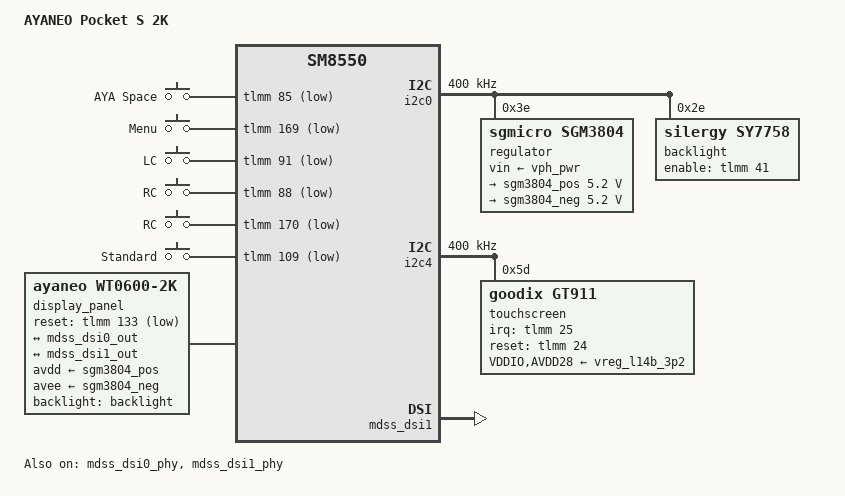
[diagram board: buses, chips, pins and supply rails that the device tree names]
// SPDX-License-Identifier: BSD-3-Clause
/*
 * Copyright (c) 2024 Linaro Limited
 * Copyright (c) 2025, Kancy Joe <kancy2333@outlook.com>
 * Copyright (c) 2025, ROCKNIX (https://github.com/ROCKNIX)
 */

/dts-v1/;

#include "qcs8550-ayaneo-pocket-common.dtsi"
#include "qcs8550-sdhc2-downstream.dtsi"

/ {
	model = "AYANEO Pocket S 2K";
	compatible = "ayaneo,pocket-s1", "qcom,sm8550";
	chassis-type = "handset";

	/*
	 * AYA SPACE, =, LC, RC and Standard are on SoC GPIOs, not the
	 * controller MCU. Keep this separate from the common gpio-keys node
	 * so InputPlumber does not grab volume.
	 */
	aya-keys {
		compatible = "gpio-keys";
		label = "aya-keys";

		pinctrl-0 = <&aya_keys_default>;
		pinctrl-names = "default";

		key-aya-space {
			label = "AYA Space";
			debounce-interval = <15>;
			gpios = <&tlmm 85 GPIO_ACTIVE_LOW>;
			linux,code = <KEY_A>;
			wakeup-source;
		};

		key-menu {
			label = "Menu";
			debounce-interval = <15>;
			gpios = <&tlmm 169 GPIO_ACTIVE_LOW>;
			linux,code = <KEY_EQUAL>;
			wakeup-source;
		};

		key-lc {
			label = "LC";
			debounce-interval = <15>;
			gpios = <&tlmm 91 GPIO_ACTIVE_LOW>;
			linux,code = <KEY_LEFT>;
			wakeup-source;
		};

		key-rc {
			label = "RC";
			debounce-interval = <15>;
			gpios = <&tlmm 88 GPIO_ACTIVE_LOW>;
			linux,code = <KEY_RIGHT>;
			wakeup-source;
		};

		/* The 2K wires RC to GPIO170; keep GPIO88 as the stock DT's alternate and report both as KEY_RIGHT. */
		key-rc2 {
			label = "RC";
			debounce-interval = <15>;
			gpios = <&tlmm 170 GPIO_ACTIVE_LOW>;
			linux,code = <KEY_RIGHT>;
			wakeup-source;
		};

		key-standard {
			label = "Standard";
			debounce-interval = <15>;
			gpios = <&tlmm 109 GPIO_ACTIVE_LOW>;
			linux,code = <KEY_YELLOW>;
			wakeup-source;
		};
	};
};

/* Physical + is on the PMIC resin input, - on the PM8550 GPIO. */
&{/gpio-keys/key-volume-up} {
	label = "Volume Down";
	linux,code = <KEY_VOLUMEDOWN>;
};

&pon_resin {
	linux,code = <KEY_VOLUMEUP>;
};

&tlmm {
	aya_keys_default: aya-keys-default-state {
		pins = "gpio85", "gpio88", "gpio91", "gpio109", "gpio169", "gpio170";
		function = "gpio";
		drive-strength = <2>;
		bias-pull-up;
	};

	panel_pwr_active: panel-pwr-active-state {
		pins = "gpio72", "gpio42", "gpio152", "gpio153";
		function = "gpio";
		drive-strength = <8>;
		bias-disable;
		output-high;
	};

	panel_pwr_sleep: panel-pwr-sleep-state {
		pins = "gpio72", "gpio42", "gpio152", "gpio153";
		function = "gpio";
		output-low;
	};

	backlight_pwr_active: backlight-pwr-active-state {
		pins = "gpio41";
		function = "gpio";
		drive-strength = <8>;
		bias-disable;
		output-high;
	};

	backlight_pwr_sleep: backlight-pwr-sleep-state {
		pins = "gpio41";
		function = "gpio";
		output-low;
	};

	ts_irq: ts-irq-state {
		pins = "gpio25";
		function = "gpio";
		drive-strength = <8>;
		bias-pull-up;
		input-enable;
	};

	ts_reset: ts-reset-state {
		pins = "gpio24";
		function = "gpio";
		drive-strength = <8>;
		bias-disable;
		output-high;
	};
};

&i2c0 {
   clock-frequency = <400000>;
	status = "okay";

	/* Screen power */
	regulator@3e {
		compatible = "sgmicro,sgm3804";
		reg = <0x3e>;
		pinctrl-0 = <&panel_pwr_active>;
		pinctrl-1 = <&panel_pwr_sleep>;
		pinctrl-names = "default", "sleep";

		vin-supply = <&vph_pwr>;

		sgm3804_pos: pos {
			regulator-name = "panel-avdd";
			regulator-min-microvolt = <5200000>;
			regulator-max-microvolt = <5200000>;
			regulator-active-discharge = <1>;
			regulator-boot-on;
			enable-gpios = <&tlmm 152 GPIO_ACTIVE_HIGH>;
		};

		sgm3804_neg: neg {
			regulator-name = "panel-avee";
			regulator-min-microvolt = <5200000>;
			regulator-max-microvolt = <5200000>;
			regulator-active-discharge = <1>;
			regulator-boot-on;
			enable-gpios = <&tlmm 153 GPIO_ACTIVE_HIGH>;
		};
	};

	/* Backlight */
	backlight: sy7758@2e {
		compatible = "silergy,sy7758";
		reg = <0x2e>;
		enable-gpios = <&tlmm 41 GPIO_ACTIVE_HIGH>;
		pinctrl-0 = <&backlight_pwr_active>;
		pinctrl-1 = <&backlight_pwr_sleep>;
		pinctrl-names = "default", "sleep";
		status = "okay";
	};
};

&i2c4 {
	status = "okay";
	clock-frequency = <400000>;

	touchscreen@5d {
		reg = <0x5d>;
		status = "okay";
		compatible = "goodix,gt911";

		interrupt-parent = <&tlmm>;
		interrupts = <25 IRQ_TYPE_EDGE_FALLING>;

		irq-gpios = <&tlmm 25 GPIO_ACTIVE_HIGH>;
		/* goodix.c drives reset as logical 0=assert/1=release; keep logical == physical */
		reset-gpios = <&tlmm 24 GPIO_ACTIVE_HIGH>;
		VDDIO-supply = <&vreg_l14b_3p2>;
		AVDD28-supply = <&vreg_l14b_3p2>;

		touchscreen-size-x = <1440>;
		touchscreen-size-y = <2560>;

		pinctrl-names = "default";
		pinctrl-0 = <&ts_reset>, <&ts_irq>;
	};
};

/* wt0600 60hz 2k dual dsi dphy panel */
&mdss_dsi0 {
	qcom,master-dsi;
	qcom,dual-dsi-mode;
	qcom,sync-dual-dsi;
};

&mdss_dsi0_out {
	remote-endpoint = <&panel0_in_0>;
	data-lanes = <0 1 2 3>;
};

&mdss_dsi0_phy {
	vdds-supply = <&vreg_l1e_0p88>;
	status = "okay";
};

&mdss_dsi1 {
	vdda-supply = <&vreg_l3e_1p2>;
	qcom,dual-dsi-mode;
	qcom,sync-dual-dsi;
	assigned-clock-parents = <&mdss_dsi0_phy DSI_BYTE_PLL_CLK>, <&mdss_dsi0_phy DSI_PIXEL_PLL_CLK>;
	status = "okay";
};

&mdss_dsi1_out {
	remote-endpoint = <&panel0_in_1>;
	data-lanes = <0 1 2 3>;
};

&mdss_dsi1_phy {
	vdds-supply = <&vreg_l1e_0p88>;
	status = "okay";
};

&display_panel {
	status = "okay";
	compatible = "ayaneo,wt0600-2k";

	avdd-supply = <&sgm3804_pos>;
	avee-supply = <&sgm3804_neg>;

	reset-gpios = <&tlmm 133 GPIO_ACTIVE_LOW>;
	backlight = <&backlight>;
	rotation = <90>;

	ports {
		#address-cells = <1>;
		#size-cells = <0>;

		port@0 {
			reg = <0>;
			panel0_in_0: endpoint {
				remote-endpoint = <&mdss_dsi0_out>;
			};
		};

		port@1{
			reg = <1>;
			panel0_in_1: endpoint {
				remote-endpoint = <&mdss_dsi1_out>;
			};
		};
	};
};
